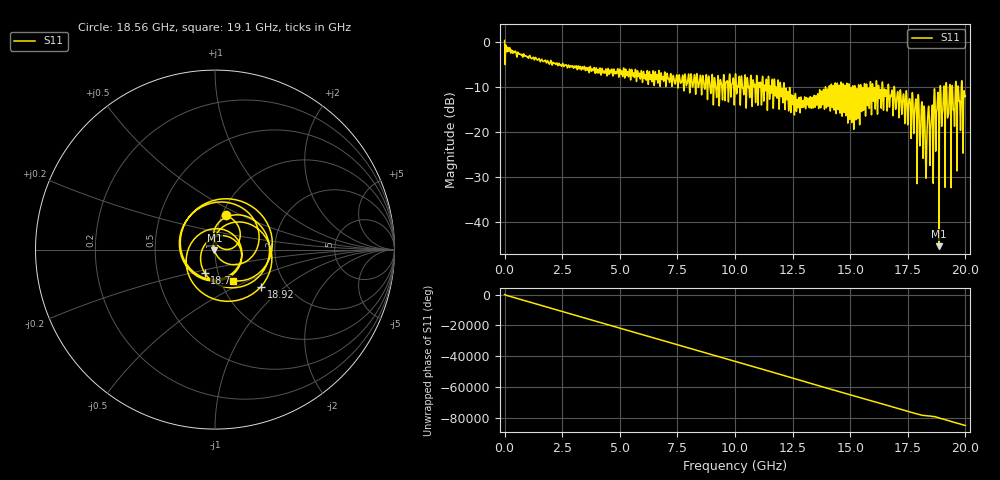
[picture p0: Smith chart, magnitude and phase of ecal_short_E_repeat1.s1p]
! MS46122B
! 2250307/22442219
! 7/26/2025 10:27:53 AM
! C:\USERS\SPARKY\DOCUMENTS\VNA_DATA\JULY26_2025\295K\ECAL_SHORT_E_REPEAT1.S1P
! CHANNEL.1
! TR.MEASUREMENT
! RAW.DATA
# GHZ S RI R 50.0
! FREQ.GHZ  S11RE  S11IM
!; PortSelection: Port_1
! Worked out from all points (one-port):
!   10001 points, 1 MHz to 20 GHz, reference 50 ohm
!   lowest |S11| = -45.4 dB at 18.86 GHz (marker M1), VSWR 1.01, Z = 49.7 - j0.457 ohm
!   |S11| at or under -10 dB: 12.14 GHz to 13.92 GHz (1.78 GHz wide, 13.7 % of centre); 16.67 GHz to 16.91 GHz (235.6 MHz wide, 1.4 % of centre); 16.92 GHz to 18.9 GHz (1.98 GHz wide, 11.1 % of centre) (the widest 3 of 72)
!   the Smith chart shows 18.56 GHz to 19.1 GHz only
!   S11 on the Smith chart (normalised r, x): 18.56 GHz: 1.04, +0.41; 18.7 GHz: 0.86, -0.23; 18.92 GHz: 1.50, -0.69; 19.1 GHz: 1.14, -0.41
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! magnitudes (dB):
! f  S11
! 1 MHz  0.4
! 2.501 GHz  -5.0
! 5.001 GHz  -6.0
! 7.501 GHz  -8.4
! 10 GHz  -8.3
! 11.79 GHz  -9.9
! 12.5 GHz  -13.8
! 14.27 GHz  -9.6
! 15 GHz  -13.7
! 16.06 GHz  -10.3
! 17.5 GHz  -18.3
! 17.57 GHz  -12.6
! 17.78 GHz  -17.4
! 17.83 GHz  -13.7
! 17.9 GHz  -25.0
! 17.98 GHz  -13.4
! 18.16 GHz  -24.5
! 18.24 GHz  -18.8
! 18.56 GHz  -14.0
! 18.7 GHz  -17.0
! 18.79 GHz  -12.9
! 18.86 GHz  -45.4
! 18.92 GHz  -9.7
! 19.1 GHz  -14.0
! 19.45 GHz  -12.4
! 19.51 GHz  -15.4
! 19.56 GHz  -11.5
! 20 GHz  -12.0
